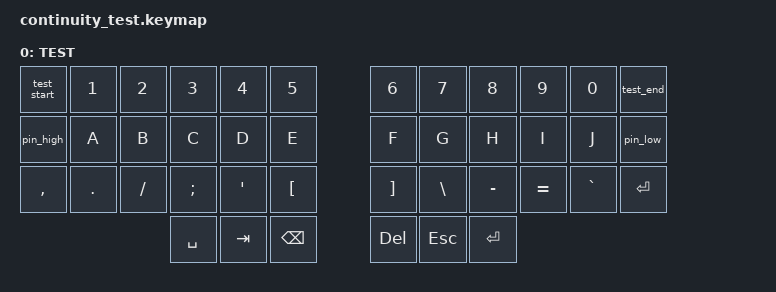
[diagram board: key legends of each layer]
/*
 * Continuity Test Keymap
 * Sends test results via USB serial
 */

#include <behaviors.dtsi>
#include <dt-bindings/zmk/keys.h>

/ {
    macros {
        // Test macros that output pin status via keystrokes
        test_start: test_start {
            label = "TEST_START";
            compatible = "zmk,behavior-macro";
            #binding-cells = <0>;
            bindings = <
                &kp S &kp T &kp A &kp R &kp T &kp SPACE
                &kp T &kp E &kp S &kp T &kp ENTER
            >;
        };
        
        pin_high: pin_high {
            label = "PIN_HIGH";
            compatible = "zmk,behavior-macro";
            #binding-cells = <0>;
            bindings = <
                &kp H &kp I &kp G &kp H &kp COLON &kp SPACE
            >;
        };
        
        pin_low: pin_low {
            label = "PIN_LOW";
            compatible = "zmk,behavior-macro";
            #binding-cells = <0>;
            bindings = <
                &kp L &kp O &kp W &kp COLON &kp SPACE
            >;
        };
        
        test_end: test_end {
            label = "TEST_END";
            compatible = "zmk,behavior-macro";
            #binding-cells = <0>;
            bindings = <
                &kp E &kp N &kp D &kp SPACE
                &kp T &kp E &kp S &kp T &kp ENTER
            >;
        };
    };

    keymap {
        compatible = "zmk,keymap";

        default_layer {
            label = "TEST";
            bindings = <
// ╭──────────────┬──────────────┬──────────────┬──────────────┬──────────────┬──────────────╮   ╭──────────────┬──────────────┬──────────────┬──────────────┬──────────────┬──────────────╮
     &test_start    &kp N1         &kp N2         &kp N3         &kp N4         &kp N5               &kp N6         &kp N7         &kp N8         &kp N9         &kp N0         &test_end
// ├──────────────┼──────────────┼──────────────┼──────────────┼──────────────┼──────────────┤   ├──────────────┼──────────────┼──────────────┼──────────────┼──────────────┼──────────────┤
     &pin_high      &kp A          &kp B          &kp C          &kp D          &kp E                &kp F          &kp G          &kp H          &kp I          &kp J          &pin_low
// ├──────────────┼──────────────┼──────────────┼──────────────┼──────────────┼──────────────┤   ├──────────────┼──────────────┼──────────────┼──────────────┼──────────────┼──────────────┤
     &kp COMMA      &kp DOT        &kp SLASH      &kp SEMI       &kp SQT        &kp LBKT             &kp RBKT       &kp BSLH       &kp MINUS      &kp EQUAL      &kp GRAVE      &kp ENTER
// ╰──────────────┴──────────────┴──────────────┼──────────────┼──────────────┼──────────────┤   ├──────────────┼──────────────┼──────────────┼──────────────┴──────────────┴──────────────╯
                                                   &kp SPACE      &kp TAB        &kp BSPC             &kp DEL        &kp ESC        &kp ENTER
//                                               ╰──────────────┴──────────────┴──────────────╯   ╰──────────────┴──────────────┴──────────────╯
            >;
        };
    };
};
